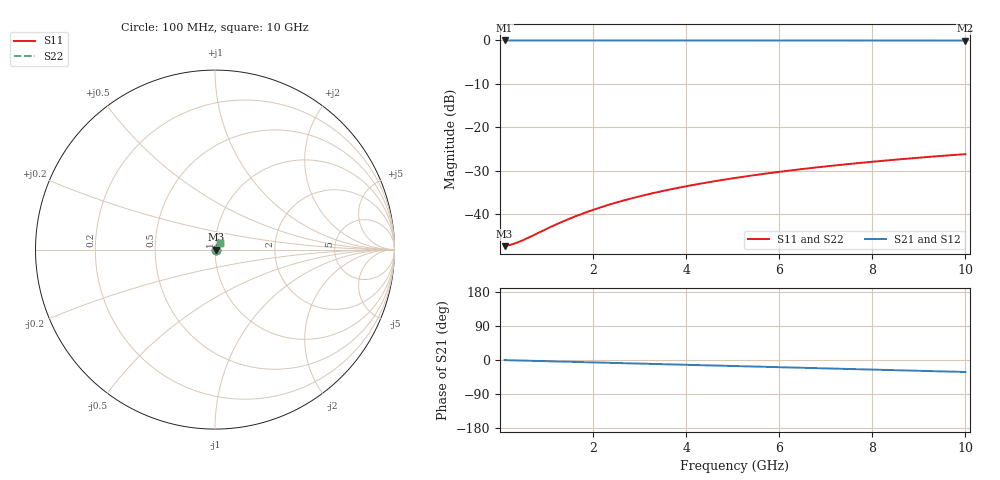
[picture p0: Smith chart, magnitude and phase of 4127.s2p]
# Hz S RI R 50.00
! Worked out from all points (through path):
!   100 points, 100 MHz to 10 GHz, reference 50 ohm
!   highest |S21| = -0.04 dB at 100 MHz (marker M1); lowest = -0.1 dB at 10 GHz (marker M2)
!   group delay of S21, straight-line fit = 8.79 ps
!   lowest |S11| = -47.4 dB at 100 MHz (marker M3), VSWR 1.01, Z = 50.4 + j0.0498 ohm
!   |S11| at or under -10 dB: start of sweep to end of sweep
!   |S22| runs from -47.4 to -26.2 dB; largest |S21 - S12| = 0
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1e8  0.00426 0.000494  0.9957 -0.00549  0.9957 -0.00549  0.00426 0.000494
2e8  0.00429 0.000987  0.9956 -0.011  0.9956 -0.011  0.00429 0.000987
3e8  0.00433 0.00148  0.9955 -0.0165  0.9955 -0.0165  0.00433 0.00148
4e8  0.00436 0.00197  0.9954 -0.022  0.9954 -0.022  0.00436 0.00197
6e8  0.00444 0.00296  0.9951 -0.0329  0.9951 -0.0329  0.00444 0.00296
1e9  0.00465 0.00492  0.9941 -0.0549  0.9941 -0.0549  0.00465 0.00492
1.3e9  0.00486 0.00638  0.993 -0.0713  0.993 -0.0713  0.00486 0.00638
1.5e9  0.00502 0.00735  0.9921 -0.0823  0.9921 -0.0823  0.00502 0.00735
1.8e9  0.00531 0.0088  0.9906 -0.0987  0.9906 -0.0987  0.00531 0.0088
2.1e9  0.00564 0.0102  0.9887 -0.115  0.9887 -0.115  0.00564 0.0102
2.5e9  0.00615 0.0121  0.9859 -0.1368  0.9859 -0.1368  0.00615 0.0121
2.9e9  0.00675 0.014  0.9826 -0.1585  0.9826 -0.1585  0.00675 0.014
3.4e9  0.00761 0.0163  0.9778 -0.1856  0.9778 -0.1856  0.00761 0.0163
3.8e9  0.0084 0.0181  0.9734 -0.2071  0.9734 -0.2071  0.0084 0.0181
4.2e9  0.00926 0.0199  0.9685 -0.2285  0.9685 -0.2285  0.00926 0.0199
4.6e9  0.0102 0.0216  0.9631 -0.2498  0.9631 -0.2498  0.0102 0.0216
5.1e9  0.0115 0.0237  0.9558 -0.2763  0.9558 -0.2763  0.0115 0.0237
5.9e9  0.0138 0.0269  0.9425 -0.3182  0.9425 -0.3182  0.0138 0.0269
6.7e9  0.0163 0.0299  0.9274 -0.3595  0.9274 -0.3595  0.0163 0.0299
7.5e9  0.0191 0.0326  0.9104 -0.4001  0.9104 -0.4001  0.0191 0.0326
8.4e9  0.0226 0.0353  0.8892 -0.4448  0.8892 -0.4448  0.0226 0.0353
1e10  0.0293 0.0393  0.846 -0.5214  0.846 -0.5214  0.0293 0.0393
